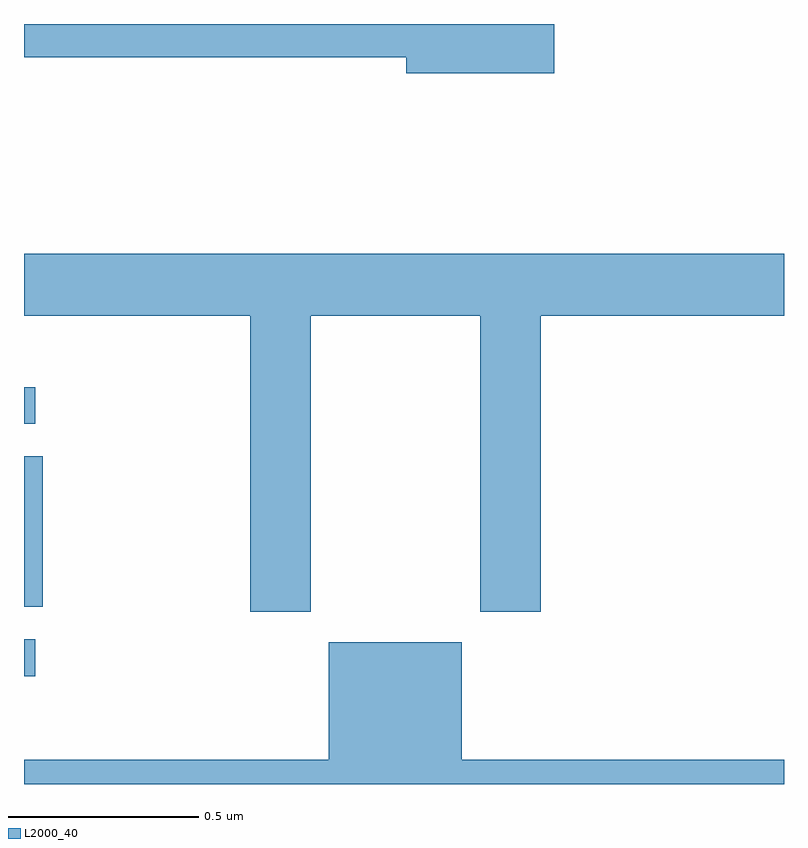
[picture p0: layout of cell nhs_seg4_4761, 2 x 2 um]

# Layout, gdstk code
import gdstk
lib = gdstk.Library(unit=1e-6, precision=1e-09)
def R(c, l, rs):  # rectangles x0, y0, x1, y1
    for r in rs: c.add(gdstk.rectangle(r[:2], r[2:], *l))
def P(c, l, *ps):  # polygons
    for p in ps: c.add(gdstk.Polygon(p, *l))
L2000_40 = (2000, 40)

nhs_seg4_4761 = lib.new_cell('nhs_seg4_4761')
R(nhs_seg4_4761, L2000_40, [(169,817.183,169.03,817.281), (169,817.366,169.049,817.763), (169,817.848,169.03,817.944)])
P(nhs_seg4_4761, L2000_40, [(170.395,818.9),(169,818.9),(169,818.812),(170.006,818.812),(170.006,818.77),(170.395,818.77)],
  [(169.755,818.132),(170.2,818.132),(170.2,817.353),(170.36,817.353),(170.36,818.132),(171,818.132),(171,818.296),(169,818.296),(169,818.132),(169.595,818.132),(169.595,817.353),(169.755,817.353)],
  [(171,816.964),(170.152,816.964),(170.152,817.273),(169.802,817.273),(169.802,816.964),(169,816.964),(169,816.9),(171,816.9)])

lib.write_gds('nhs_seg4_4761.gds')
